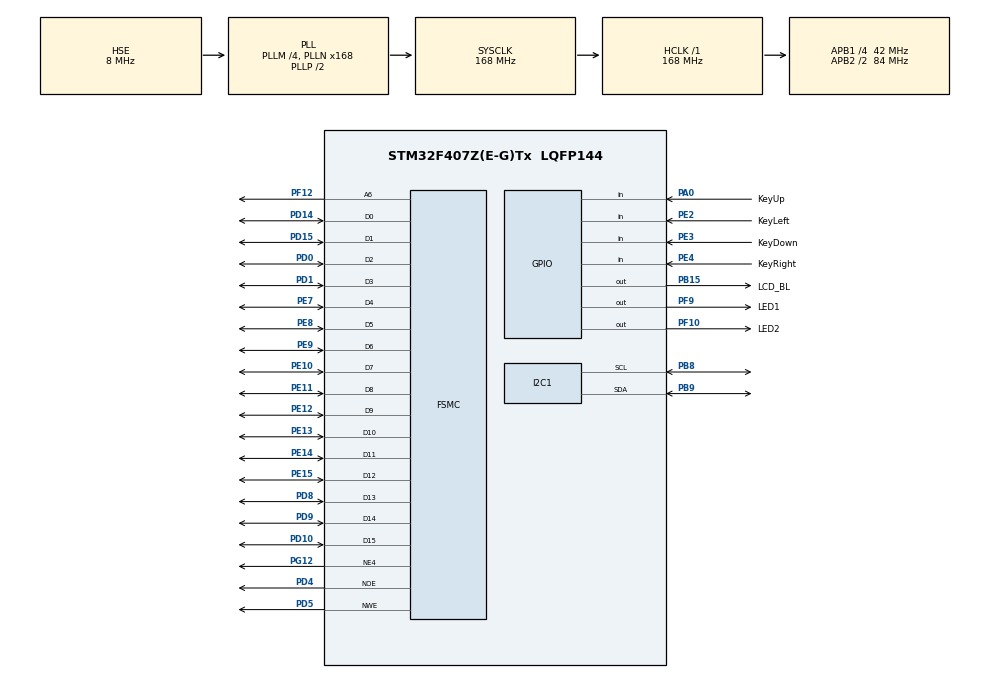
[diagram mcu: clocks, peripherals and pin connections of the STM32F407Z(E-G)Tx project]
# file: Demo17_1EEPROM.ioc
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FSMC.AddressSetupTime4=2
FSMC.BusTurnAroundDuration4=0
FSMC.DataSetupTime4=16
FSMC.ExtendedAddressSetupTime4=4
FSMC.ExtendedBusTurnAroundDuration4=0
FSMC.ExtendedDataSetupTime4=9
FSMC.ExtendedMode4=FSMC_EXTENDED_MODE_ENABLE
I2C1.DualAddressMode=I2C_DUALADDRESS_DISABLE
I2C1.I2C_Mode=I2C_Standard
Mcu.Family=STM32F4
Mcu.Name=STM32F407Z(E-G)Tx
Mcu.Package=LQFP144
NVIC.PriorityGroup=NVIC_PRIORITYGROUP_4
PA0-WKUP.GPIO_Label=KeyUp
PA0-WKUP.GPIO_PuPd=GPIO_PULLDOWN
PA0-WKUP.Signal=GPIO_Input
PA13.Mode=Serial_Wire
PA13.Signal=SYS_JTMS-SWDIO
PA14.Mode=Serial_Wire
PA14.Signal=SYS_JTCK-SWCLK
PB15.GPIO_Label=LCD_BL
PB15.PinState=GPIO_PIN_RESET
PB15.Signal=GPIO_Output
PB8.GPIO_Pu=GPIO_PULLUP
PB8.Mode=I2C
PB8.Signal=I2C1_SCL
PB9.GPIO_Pu=GPIO_PULLUP
PB9.Mode=I2C
PB9.Signal=I2C1_SDA
PD0.Signal=FSMC_D2_DA2
PD1.Signal=FSMC_D3_DA3
PD10.Signal=FSMC_D15_DA15
PD14.Signal=FSMC_D0_DA0
PD15.Signal=FSMC_D1_DA1
PD4.Signal=FSMC_NOE
PD5.Signal=FSMC_NWE
PD8.Signal=FSMC_D13_DA13
PD9.Signal=FSMC_D14_DA14
PE10.Signal=FSMC_D7_DA7
PE11.Signal=FSMC_D8_DA8
PE12.Signal=FSMC_D9_DA9
PE13.Signal=FSMC_D10_DA10
PE14.Signal=FSMC_D11_DA11
PE15.Signal=FSMC_D12_DA12
PE2.GPIO_Label=KeyLeft
PE2.GPIO_PuPd=GPIO_PULLUP
PE2.Signal=GPIO_Input
PE3.GPIO_Label=KeyDown
PE3.GPIO_PuPd=GPIO_PULLUP
PE3.Signal=GPIO_Input
PE4.GPIO_Label=KeyRight
PE4.GPIO_PuPd=GPIO_PULLUP
PE4.Signal=GPIO_Input
PE7.Signal=FSMC_D4_DA4
PE8.Signal=FSMC_D5_DA5
PE9.Signal=FSMC_D6_DA6
PF10.GPIO_Label=LED2
PF10.Signal=GPIO_Output
PF12.Signal=FSMC_A6
PF9.GPIO_Label=LED1
PF9.Signal=GPIO_Output
PG12.Mode=NorPsramChipSelect4_4
PG12.Signal=FSMC_NE4
PH0-OSC_IN.Mode=HSE-External-Oscillator
PH0-OSC_IN.Signal=RCC_OSC_IN
PH1-OSC_OUT.Mode=HSE-External-Oscillator
PH1-OSC_OUT.Signal=RCC_OSC_OUT
ProjectManager.HeapSize=0x200
ProjectManager.StackSize=0x400
ProjectManager.TargetToolchain=STM32CubeIDE
RCC.48MHZClocksFreq_Value=84000000
RCC.AHBFreq_Value=168000000
RCC.APB1CLKDivider=RCC_HCLK_DIV4
RCC.APB1Freq_Value=42000000
RCC.APB1TimFreq_Value=84000000
RCC.APB2CLKDivider=RCC_HCLK_DIV2
RCC.APB2Freq_Value=84000000
RCC.APB2TimFreq_Value=168000000
RCC.CortexFreq_Value=168000000
RCC.FLatency=FLASH_LATENCY_5
RCC.HCLKFreq_Value=168000000
RCC.HSE_VALUE=8000000
RCC.HSI_VALUE=16000000
RCC.LSE_VALUE=32768
RCC.PLLM=4
RCC.PLLN=168
RCC.PLLSourceVirtual=RCC_PLLSOURCE_HSE
RCC.SYSCLKFreq_VALUE=168000000
RCC.SYSCLKSource=RCC_SYSCLKSOURCE_PLLCLK
RCC.VCOOutputFreq_Value=336000000
SH.FSMC_A6.0=FSMC_A6,A6_4
SH.FSMC_D0_DA0.0=FSMC_D0,16b-d4
SH.FSMC_D10_DA10.0=FSMC_D10,16b-d4
SH.FSMC_D11_DA11.0=FSMC_D11,16b-d4
SH.FSMC_D12_DA12.0=FSMC_D12,16b-d4
SH.FSMC_D13_DA13.0=FSMC_D13,16b-d4
SH.FSMC_D14_DA14.0=FSMC_D14,16b-d4
SH.FSMC_D15_DA15.0=FSMC_D15,16b-d4
SH.FSMC_D1_DA1.0=FSMC_D1,16b-d4
SH.FSMC_D2_DA2.0=FSMC_D2,16b-d4
SH.FSMC_D3_DA3.0=FSMC_D3,16b-d4
SH.FSMC_D4_DA4.0=FSMC_D4,16b-d4
SH.FSMC_D5_DA5.0=FSMC_D5,16b-d4
SH.FSMC_D6_DA6.0=FSMC_D6,16b-d4
SH.FSMC_D7_DA7.0=FSMC_D7,16b-d4
SH.FSMC_D8_DA8.0=FSMC_D8,16b-d4
SH.FSMC_D9_DA9.0=FSMC_D9,16b-d4
SH.FSMC_NOE.0=FSMC_NOE,Lcd4
SH.FSMC_NWE.0=FSMC_NWE,Lcd4
board=custom

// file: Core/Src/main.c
/* USER CODE BEGIN Header */
/**
  ******************************************************************************
  * @file           : main.c
  * @brief          : Main program body
  ******************************************************************************
  * @attention
  *
  * Copyright (c) 2023 STMicroelectronics.
  * All rights reserved.
  *
  * This software is licensed under terms that can be found in the LICENSE file
  * in the root directory of this software component.
  * If no LICENSE file comes with this software, it is provided AS-IS.
  *
  ******************************************************************************
  */
/* USER CODE END Header */
#include "main.h"
#include "i2c.h"
#include "gpio.h"
#include "fsmc.h"

/* USER CODE BEGIN Includes */
#include "lcd.h"
#include "keyled.h"
#include "24cxx.h"
#include <stdio.h>
/* USER CODE END Includes */

void SystemClock_Config(void);

int main(void)
{

  /* MCU Configuration--------------------------------------------------------*/

  /* Reset of all peripherals, Initializes the Flash interface and the Systick. */
  HAL_Init();

  /* Configure the system clock */
  SystemClock_Config();

  /* Initialize all configured peripherals */
  MX_GPIO_Init();
  MX_FSMC_Init();
  MX_I2C1_Init();
  /* USER CODE BEGIN 2 */
  lcd_init();
  lcd_show_str(10, 0 * 20 + 10, 16, "Demo17_1:I2C Interface", RED);
  lcd_show_str(10, 1 * 20 + 10, 16, "24C02:EEPROM, 256 bytes", RED);
  lcd_show_str(10, 2 * 20 + 10, 16, "8 bytes/page, 32pages", RED);
  lcd_show_str(10, 3 * 20 + 10, 16, "I2C Device Address = 0xA0", RED);
  if (EP24C_IsDeviceReady() == HAL_OK) {
	  lcd_show_str(10, 4 * 20 + 10, 16, "Device is ready.", RED);
  }
  lcd_show_str(10, 5 * 20 + 10, 16, "[1] KeyUp    = Write a number", RED);
  lcd_show_str(10, 6 * 20 + 10, 16, "[2] KeyDown  = Read the number", RED);
  lcd_show_str(10, 7 * 20 + 10, 16, "[3] KeyLeft  = Write a String", RED);
  lcd_show_str(10, 8 * 20 + 10, 16, "[4] KeyRight = Read the String", RED);
  /* USER CODE END 2 */

  /* Infinite loop */
  /* USER CODE BEGIN WHILE */
  uint8_t num1 = 107, num2;
  uint16_t addr_any = 4;
  uint16_t addr_page = 2*8;
  uint8_t infoStr[50];
  while (1)
  {
	  KEYS curKey = ScanPressedKey(KEY_WAIT_ALWAYS);
	  switch (curKey) {
		  case KEY_UP:
			  if (EP24C_WriteOneByte(addr_any, num1) == HAL_OK) {
				  lcd_fill(10, 10 * 20 + 10, 479, 12 * 20 + 10, WHITE);
				  sprintf(infoStr, "Write %d at Address %d\0", num1, addr_any);
				  lcd_show_str(10, 10 * 20 + 10, 16, infoStr, RED);
			  }
			  break;
		  case KEY_DOWN:
			  if (EP24C_ReadOneByte(addr_any, &num2) == HAL_OK) {
				  lcd_fill(10, 10 * 20 + 10, 479, 12 * 20 + 10, WHITE);
				  sprintf(infoStr, "Read out %d at Address %d\0", num2, addr_any);
				  lcd_show_str(10, 10 * 20 + 10, 16, infoStr, RED);
			  }
			  break;
		  case KEY_LEFT:
		  {
			  uint8_t strIn[] = "University of Petroleum";
			  if (EP24C_WriteLongData(addr_page, strIn, sizeof(strIn)) == HAL_OK) {
				  lcd_fill(10, 10 * 20 + 10, 479, 12 * 20 + 10, WHITE);
				  lcd_show_str(10, 10 * 20 + 10, 16, "Write string from Page 2:", RED);
				  lcd_show_str(10, 11 * 20 + 10, 16, strIn, RED);
			  }
			  break;
		  }
		  case KEY_RIGHT:
		  {
			  uint8_t strOut[50];
			  if (EP24C_ReadBytes(addr_page, strOut, 50) == HAL_OK) {
				  lcd_fill(10, 10 * 20 + 10, 479, 12 * 20 + 10, WHITE);
				  lcd_show_str(10, 10 * 20 + 10, 16, "Read string from Page 2:", RED);
				  lcd_show_str(10, 11 * 20 + 10, 16, strOut, RED);
			  }
			  break;
		  }
	  }

	  lcd_show_str(10, 13 * 20 + 10, 16, "**Reselect menu or reset**", RED);
	  HAL_Delay(500);
    /* USER CODE END WHILE */

  }
}

void SystemClock_Config(void)
{
  RCC_OscInitTypeDef RCC_OscInitStruct = {0};
  RCC_ClkInitTypeDef RCC_ClkInitStruct = {0};

  /** Configure the main internal regulator output voltage
  */
  __HAL_RCC_PWR_CLK_ENABLE();
  __HAL_PWR_VOLTAGESCALING_CONFIG(PWR_REGULATOR_VOLTAGE_SCALE1);

  /** Initializes the RCC Oscillators according to the specified parameters
  * in the RCC_OscInitTypeDef structure.
  */
  RCC_OscInitStruct.OscillatorType = RCC_OSCILLATORTYPE_HSE;
  RCC_OscInitStruct.HSEState = RCC_HSE_ON;
  RCC_OscInitStruct.PLL.PLLState = RCC_PLL_ON;
  RCC_OscInitStruct.PLL.PLLSource = RCC_PLLSOURCE_HSE;
  RCC_OscInitStruct.PLL.PLLM = 4;
  RCC_OscInitStruct.PLL.PLLN = 168;
  RCC_OscInitStruct.PLL.PLLP = RCC_PLLP_DIV2;
  RCC_OscInitStruct.PLL.PLLQ = 4;
  if (HAL_RCC_OscConfig(&RCC_OscInitStruct) != HAL_OK)
  {
    Error_Handler();
  }

  /** Initializes the CPU, AHB and APB buses clocks
  */
  RCC_ClkInitStruct.ClockType = RCC_CLOCKTYPE_HCLK|RCC_CLOCKTYPE_SYSCLK
                              |RCC_CLOCKTYPE_PCLK1|RCC_CLOCKTYPE_PCLK2;
  RCC_ClkInitStruct.SYSCLKSource = RCC_SYSCLKSOURCE_PLLCLK;
  RCC_ClkInitStruct.AHBCLKDivider = RCC_SYSCLK_DIV1;
  RCC_ClkInitStruct.APB1CLKDivider = RCC_HCLK_DIV4;
  RCC_ClkInitStruct.APB2CLKDivider = RCC_HCLK_DIV2;

  if (HAL_RCC_ClockConfig(&RCC_ClkInitStruct, FLASH_LATENCY_5) != HAL_OK)
  {
    Error_Handler();
  }
}

void Error_Handler(void)
{
  __disable_irq();
  while (1)
  {
  }
}
